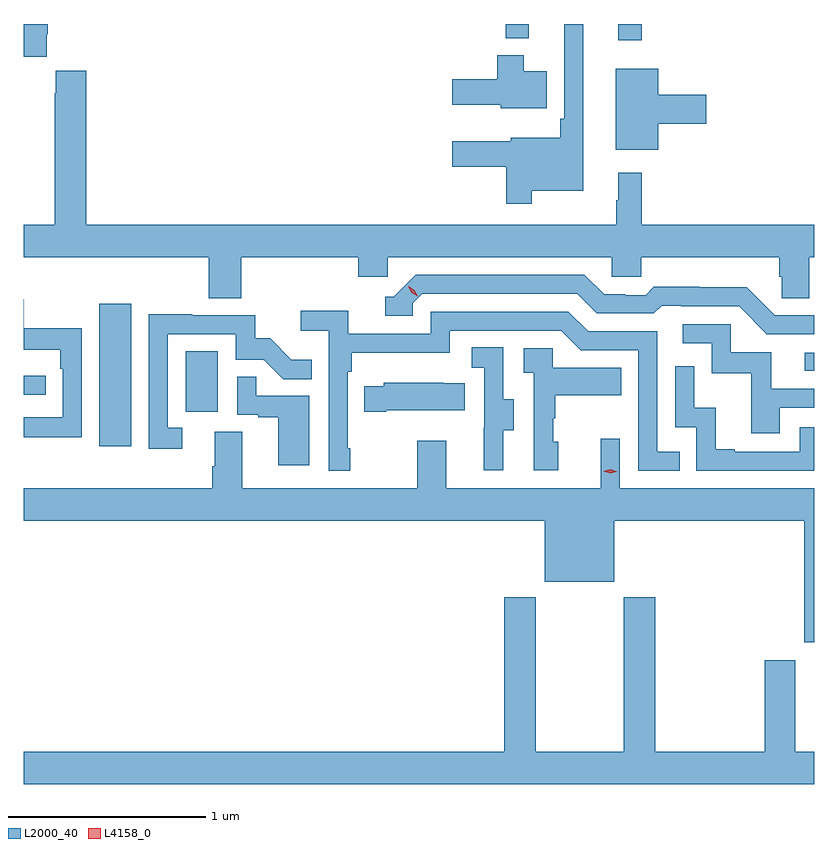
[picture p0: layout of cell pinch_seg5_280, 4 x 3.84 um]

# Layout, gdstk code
import gdstk
lib = gdstk.Library(unit=1e-6, precision=1e-09)
def R(c, l, rs):  # rectangles x0, y0, x1, y1
    for r in rs: c.add(gdstk.rectangle(r[:2], r[2:], *l))
def P(c, l, *ps):  # polygons
    for p in ps: c.add(gdstk.Polygon(p, *l))
L2000_40 = (2000, 40)
L4158_0 = (4158, 0)

pinch_seg5_280 = lib.new_cell('pinch_seg5_280')
R(pinch_seg5_280, L2000_40, [(904.145,910.416,904.306,911.137), (904.58,910.59,904.744,910.897), (903.761,910.677,903.874,910.773), (907.713,910.797,907.761,910.89), (906.77,912.471,906.887,912.552), (906.199,912.479,906.317,912.552)])
P(pinch_seg5_280, L2000_40, [(903.877,912.499),(903.884,912.499),(903.884,912.552),(903.761,912.552),(903.761,912.387),(903.877,912.387)],
  [(906.331,911.708),(906.592,911.708),(906.592,912.552),(906.495,912.552),(906.495,912.073),(906.475,912.073),(906.475,911.977),(906.225,911.977),(906.225,911.959),(905.928,911.959),(905.928,911.83),(906.202,911.83),(906.202,911.643),(906.331,911.643)],
  [(906.406,912.313),(906.292,912.313),(906.292,912.394),(906.158,912.394),(906.158,912.273),(905.928,912.273),(905.928,912.143),(906.174,912.143),(906.174,912.125),(906.406,912.125)],
  [(906.97,912.047),(907.213,912.047),(907.213,912.194),(906.97,912.194),(906.97,912.325),(906.755,912.325),(906.755,911.915),(906.97,911.915)],
  [(903.923,912.316),(903.923,912.203),(903.919,912.203),(903.919,911.536),(903.761,911.536),(903.761,911.372),(904.697,911.372),(904.697,911.164),(904.862,911.164),(904.862,911.372),(905.453,911.372),(905.453,911.274),(905.604,911.274),(905.604,911.372),(906.735,911.372),(906.735,911.274),(906.885,911.274),(906.885,911.372),(907.583,911.372),(907.583,911.274),(907.597,911.274),(907.597,911.164),(907.734,911.164),(907.734,911.372),(907.761,911.372),(907.761,911.536),(906.887,911.536),(906.887,911.8),(906.77,911.8),(906.77,911.66),(906.759,911.66),(906.759,911.536),(904.079,911.536),(904.079,912.316)],
  [(907.761,911.079),(907.56,911.079),(907.418,911.221),(907.182,911.221),(907.182,911.224),(906.949,911.224),(906.907,911.181),(906.804,911.181),(906.804,911.184),(906.697,911.184),(906.598,911.283),(905.745,911.283),(905.634,911.172),(905.591,911.172),(905.591,911.076),(905.73,911.076),(905.73,911.139),(905.778,911.187),(906.561,911.187),(906.66,911.088),(906.949,911.088),(906.988,911.127),(907.087,911.127),(907.087,911.124),(907.38,911.124),(907.521,910.983),(907.761,910.983)],
  [(904.056,911.014),(903.763,911.014),(903.763,911.16),(903.761,911.16),(903.761,910.904),(903.947,910.904),(903.947,910.808),(903.96,910.808),(903.96,910.563),(903.761,910.563),(903.761,910.462),(904.056,910.462)],
  [(905.413,910.405),(905.4,910.405),(905.4,910.793),(905.42,910.793),(905.42,910.889),(905.916,910.889),(905.916,911.001),(906.48,911.001),(906.579,910.902),(906.87,910.902),(906.87,910.293),(907.079,910.293),(907.079,910.389),(906.966,910.389),(906.966,910.998),(906.616,910.998),(906.517,911.097),(905.82,911.097),(905.82,910.986),(905.402,910.986),(905.402,911.102),(905.163,911.102),(905.163,911),(905.304,911),(905.304,910.293),(905.413,910.293)],
  [(904.564,910.509),(904.491,910.509),(904.491,910.983),(904.833,910.983),(904.833,910.854),(904.977,910.854),(905.075,910.756),(905.219,910.756),(905.219,910.855),(905.115,910.855),(905.008,910.962),(904.932,910.962),(904.932,911.079),(904.613,911.079),(904.613,911.084),(904.395,911.084),(904.395,910.404),(904.564,910.404)],
  [(907.585,910.611),(907.761,910.611),(907.761,910.707),(907.543,910.707),(907.543,910.893),(907.338,910.893),(907.338,911.034),(907.095,911.034),(907.095,910.938),(907.242,910.938),(907.242,910.785),(907.441,910.785),(907.441,910.482),(907.585,910.482)],
  [(906.187,910.498),(906.241,910.498),(906.241,910.653),(906.186,910.653),(906.186,910.916),(906.027,910.916),(906.027,910.813),(906.09,910.813),(906.09,910.509),(906.089,910.509),(906.089,910.296),(906.187,910.296)],
  [(906.466,910.44),(906.441,910.44),(906.441,910.559),(906.451,910.559),(906.451,910.673),(906.785,910.673),(906.785,910.813),(906.438,910.813),(906.438,910.911),(906.291,910.911),(906.291,910.787),(906.342,910.787),(906.342,910.296),(906.466,910.296)],
  [(907.761,910.512),(907.686,910.512),(907.686,910.389),(907.357,910.389),(907.357,910.402),(907.262,910.402),(907.262,910.61),(907.152,910.61),(907.152,910.822),(907.056,910.822),(907.056,910.512),(907.164,910.512),(907.164,910.293),(907.761,910.293)],
  [(905.206,910.671),(904.937,910.671),(904.937,910.769),(904.842,910.769),(904.842,910.575),(904.949,910.575),(904.949,910.563),(905.048,910.563),(905.048,910.32),(905.206,910.32)],
  [(905.596,910.598),(905.993,910.598),(905.993,910.735),(905.885,910.735),(905.885,910.738),(905.583,910.738),(905.583,910.72),(905.485,910.72),(905.485,910.591),(905.596,910.591)],
  [(907.761,910.204),(906.777,910.204),(906.777,910.453),(906.68,910.453),(906.68,910.204),(905.899,910.204),(905.899,910.444),(905.752,910.444),(905.752,910.204),(904.867,910.204),(904.867,910.49),(904.727,910.49),(904.727,910.316),(904.715,910.316),(904.715,910.204),(903.761,910.204),(903.761,910.04),(906.398,910.04),(906.398,909.731),(906.748,909.731),(906.748,910.04),(907.709,910.04),(907.709,909.426),(907.761,909.426)],
  [(907.761,908.872),(907.663,908.872),(907.663,909.334),(907.511,909.334),(907.511,908.872),(906.956,908.872),(906.956,909.652),(906.796,909.652),(906.796,908.872),(906.351,908.872),(906.351,909.652),(906.191,909.652),(906.191,908.872),(903.761,908.872),(903.761,908.708),(907.761,908.708)])
P(pinch_seg5_280, L4158_0, [(906.729,910.279),(906.694,910.289),(906.694,910.289),(906.694,910.289),(906.729,910.299),(906.764,910.288),(906.764,910.288),(906.764,910.288)],
  [(905.755,911.174),(905.724,911.193),(905.707,911.225),(905.707,911.226),(905.708,911.226),(905.738,911.206),(905.755,911.174),(905.755,911.174)])

lib.write_gds('pinch_seg5_280.gds')
